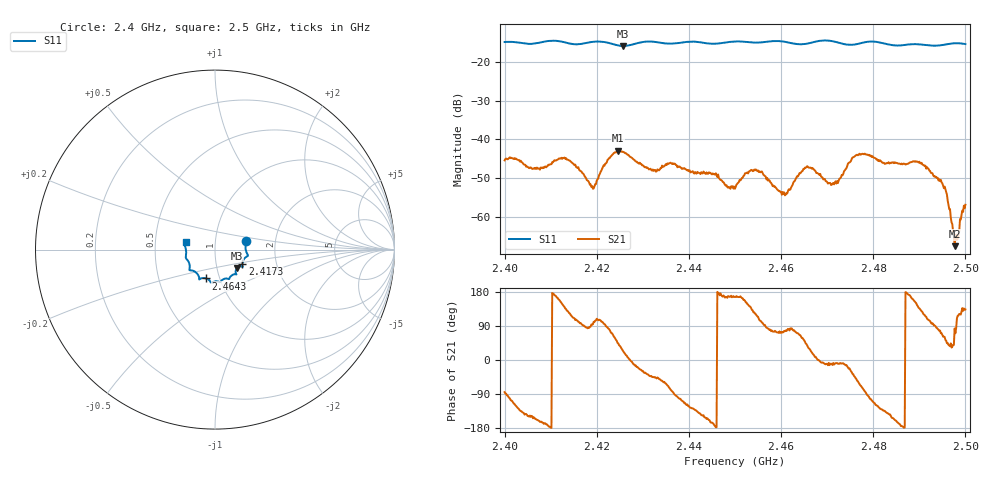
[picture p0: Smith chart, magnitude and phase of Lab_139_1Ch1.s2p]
# Hz S RI R 50
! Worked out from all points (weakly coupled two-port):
!   601 points, 2.4 GHz to 2.5 GHz, reference 50 ohm
!   highest |S21| = -42.97 dB at 2.4247 GHz (marker M1); lowest = -67.6 dB at 2.4977 GHz (marker M2)
!   lowest |S11| = -15.9 dB at 2.4257 GHz (marker M3), VSWR 1.38, Z = 62.5 - j13.1 ohm
!   |S11| at or under -10 dB: start of sweep to end of sweep
!   S12 and S22 are empty: the file has one direction only
!   S11 on the Smith chart (normalised r, x): 2.4 GHz: 1.41, +0.14; 2.4173 GHz: 1.34, -0.23; 2.4643 GHz: 0.86, -0.28; 2.5 GHz: 0.72, +0.06
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2.4e9  0.173 0.0492  0.000484 -0.00532  0 0  0 0
2.407167e9  0.1743 -0.0119  -0.00388 -0.00155  0 0  0 0
2.412833e9  0.175 -0.0398  -0.00452 0.0035  0 0  0 0
2.416667e9  0.1531 -0.0745  -0.000345 0.00383  0 0  0 0
2.417333e9  0.1525 -0.0819  6.74e-05 0.00336  0 0  0 0
2.419333e9  0.1537 -0.0961  -0.000436 0.00228  0 0  0 0
2.424667e9  0.1307 -0.0963  0.00513 0.00491  0 0  0 0
2.425667e9  0.1229 -0.1023  0.00629 0.00285  0 0  0 0
2.433333e9  0.1131 -0.137  0.00273 -0.00296  0 0  0 0
2.45e9  0.0294 -0.1808  -0.00224 0.000538  0 0  0 0
2.4545e9  0.00608 -0.1765  -0.0021 0.00351  0 0  0 0
2.461e9  -0.0261 -0.1783  0.000401 0.00189  0 0  0 0
2.464333e9  -0.05 -0.1606  0.00178 0.00328  0 0  0 0
2.466667e9  -0.0759 -0.1598  0.00392 0.00144  0 0  0 0
2.471e9  -0.0873 -0.1633  0.00255 -0.000436  0 0  0 0
2.4765e9  -0.1219 -0.1176  0.00366 -0.00516  0 0  0 0
2.483333e9  -0.1409 -0.0901  -0.004 -0.00309  0 0  0 0
2.49e9  -0.1629 -0.0407  -0.00373 0.00354  0 0  0 0
2.4945e9  -0.1629 0.00419  0.000609 0.00282  0 0  0 0
2.495833e9  -0.1668 0.0179  0.0013 0.0016  0 0  0 0
2.497667e9  -0.1706 0.03  4.88e-05 0.000415  0 0  0 0
2.5e9  -0.1638 0.0424  -0.000984 0.00104  0 0  0 0
